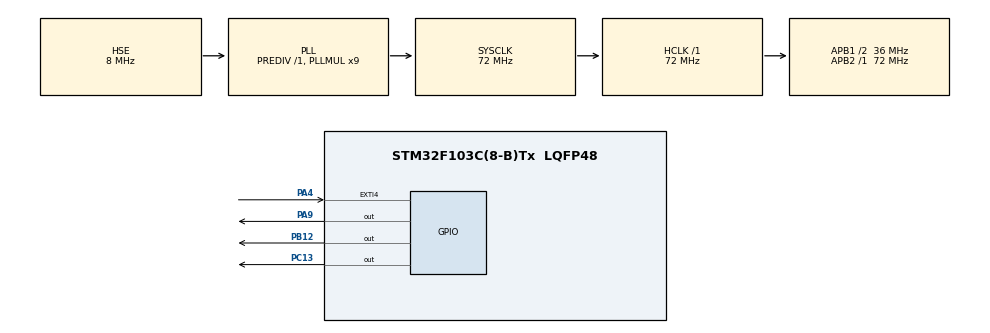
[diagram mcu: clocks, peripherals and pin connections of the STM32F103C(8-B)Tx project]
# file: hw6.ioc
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Mcu.Family=STM32F1
Mcu.Name=STM32F103C(8-B)Tx
Mcu.Package=LQFP48
NVIC.EXTI4_IRQn=true\:0\:0\:false\:false\:true\:true\:true\:true
NVIC.PriorityGroup=NVIC_PRIORITYGROUP_4
PA13.Mode=Serial_Wire
PA13.Signal=SYS_JTMS-SWDIO
PA14.Mode=Serial_Wire
PA14.Signal=SYS_JTCK-SWCLK
PA4.GPIO_ModeDefaultEXTI=GPIO_MODE_IT_RISING_FALLING
PA4.GPIO_PuPd=GPIO_PULLUP
PA4.Signal=GPXTI4
PA9.PinState=GPIO_PIN_SET
PA9.Signal=GPIO_Output
PB12.GPIO_ModeDefaultOutputPP=GPIO_MODE_OUTPUT_PP
PB12.Signal=GPIO_Output
PC13-TAMPER-RTC.GPIO_ModeDefaultOutputPP=GPIO_MODE_OUTPUT_OD
PC13-TAMPER-RTC.GPIO_PuPd=GPIO_NOPULL
PC13-TAMPER-RTC.Signal=GPIO_Output
PD0-OSC_IN.Mode=HSE-External-Oscillator
PD0-OSC_IN.Signal=RCC_OSC_IN
PD1-OSC_OUT.Mode=HSE-External-Oscillator
PD1-OSC_OUT.Signal=RCC_OSC_OUT
ProjectManager.HeapSize=0x200
ProjectManager.StackSize=0x400
ProjectManager.TargetToolchain=CMake
RCC.AHBFreq_Value=72000000
RCC.APB1CLKDivider=RCC_HCLK_DIV2
RCC.APB1Freq_Value=36000000
RCC.APB1TimFreq_Value=72000000
RCC.APB2Freq_Value=72000000
RCC.APB2TimFreq_Value=72000000
RCC.HCLKFreq_Value=72000000
RCC.PLLMUL=RCC_PLL_MUL9
RCC.PLLSourceVirtual=RCC_PLLSOURCE_HSE
RCC.SYSCLKFreq_VALUE=72000000
RCC.SYSCLKSource=RCC_SYSCLKSOURCE_PLLCLK
RCC.USBFreq_Value=72000000
board=custom

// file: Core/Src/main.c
/* USER CODE BEGIN Header */
/**
  ******************************************************************************
  * @file           : main.c
  * @brief          : Main program body
  ******************************************************************************
  * @attention
  *
  * Copyright (c) 2026 STMicroelectronics.
  * All rights reserved.
  *
  * This software is licensed under terms that can be found in the LICENSE file
  * in the root directory of this software component.
  * If no LICENSE file comes with this software, it is provided AS-IS.
  *
  ******************************************************************************
  */
/* USER CODE END Header */
#include "main.h"
#include "gpio.h"

/* USER CODE BEGIN PV */
volatile uint32_t begin1 = 0,end1 = 0,begin2 = 0,end2 = 0;
volatile uint32_t duration = 1000;
volatile uint32_t last_time = 0;
/* USER CODE END PV */

void SystemClock_Config(void);

int main(void)
{

  /* MCU Configuration--------------------------------------------------------*/

  /* Reset of all peripherals, Initializes the Flash interface and the Systick. */
  HAL_Init();

  /* Configure the system clock */
  SystemClock_Config();

  /* Initialize all configured peripherals */
  MX_GPIO_Init();
  /* USER CODE BEGIN 2 */
  HAL_GPIO_WritePin(GPIOC, GPIO_PIN_13, GPIO_PIN_RESET);
  HAL_GPIO_WritePin(GPIOA, GPIO_PIN_9, GPIO_PIN_SET);
  /* USER CODE END 2 */

  /* Infinite loop */
  while (1)
  {

    /* USER CODE BEGIN 3 */
    if (duration<=500)
    {
      if (HAL_GetTick()-last_time>=20)
      {
      last_time=HAL_GetTick();
      HAL_GPIO_TogglePin(GPIOA, GPIO_PIN_9);
      begin1=0;
      end1=0;
      begin2=0;
      end2=0;
      }
    }

    duration=1000;
  }
  /* USER CODE END 3 */
}

void SystemClock_Config(void)
{
  RCC_OscInitTypeDef RCC_OscInitStruct = {0};
  RCC_ClkInitTypeDef RCC_ClkInitStruct = {0};

  /** Initializes the RCC Oscillators according to the specified parameters
  * in the RCC_OscInitTypeDef structure.
  */
  RCC_OscInitStruct.OscillatorType = RCC_OSCILLATORTYPE_HSE;
  RCC_OscInitStruct.HSEState = RCC_HSE_ON;
  RCC_OscInitStruct.HSEPredivValue = RCC_HSE_PREDIV_DIV1;
  RCC_OscInitStruct.HSIState = RCC_HSI_ON;
  RCC_OscInitStruct.PLL.PLLState = RCC_PLL_ON;
  RCC_OscInitStruct.PLL.PLLSource = RCC_PLLSOURCE_HSE;
  RCC_OscInitStruct.PLL.PLLMUL = RCC_PLL_MUL9;
  if (HAL_RCC_OscConfig(&RCC_OscInitStruct) != HAL_OK)
  {
    Error_Handler();
  }

  /** Initializes the CPU, AHB and APB buses clocks
  */
  RCC_ClkInitStruct.ClockType = RCC_CLOCKTYPE_HCLK|RCC_CLOCKTYPE_SYSCLK
                              |RCC_CLOCKTYPE_PCLK1|RCC_CLOCKTYPE_PCLK2;
  RCC_ClkInitStruct.SYSCLKSource = RCC_SYSCLKSOURCE_PLLCLK;
  RCC_ClkInitStruct.AHBCLKDivider = RCC_SYSCLK_DIV1;
  RCC_ClkInitStruct.APB1CLKDivider = RCC_HCLK_DIV2;
  RCC_ClkInitStruct.APB2CLKDivider = RCC_HCLK_DIV1;

  if (HAL_RCC_ClockConfig(&RCC_ClkInitStruct, FLASH_LATENCY_2) != HAL_OK)
  {
    Error_Handler();
  }
}

/* USER CODE BEGIN 4 */
void HAL_GPIO_EXTI_Callback(uint16_t GPIO_Pin)
{

  if (HAL_GPIO_ReadPin(GPIOA, GPIO_PIN_4) == GPIO_PIN_RESET){begin1=HAL_GetTick();}
  else{
    end1=HAL_GetTick();
  }
  begin2=begin1;
  end2=end1;
  duration=begin2-end1;
}
/* USER CODE END 4 */

void Error_Handler(void)
{
  __disable_irq();
  while (1)
  {
  }
}
